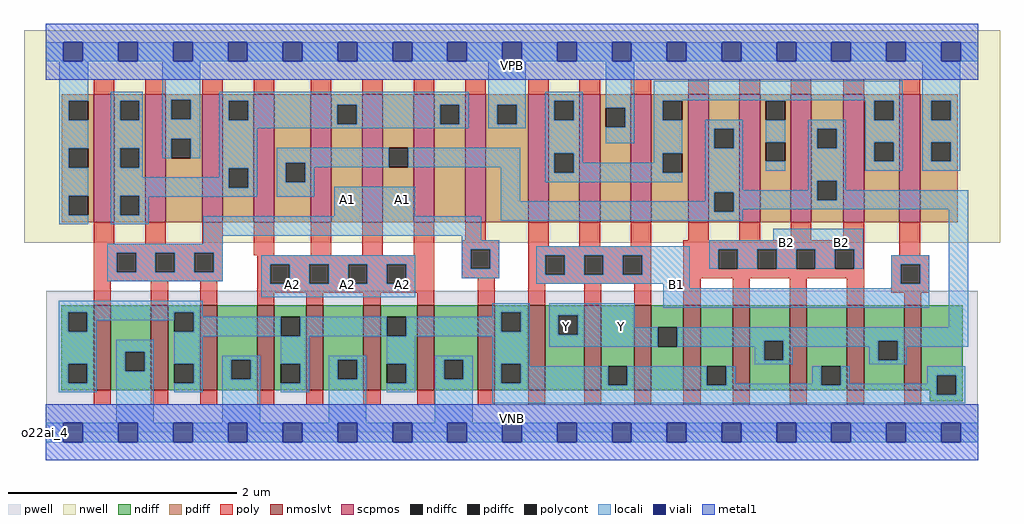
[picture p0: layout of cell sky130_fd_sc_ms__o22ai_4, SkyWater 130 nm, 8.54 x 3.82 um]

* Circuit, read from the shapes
.subckt sky130_fd_sc_ms__o22ai_4 A1 A2 B1 B2 VGND VNB VPB VPWR Y
XM1 VGND A1 n1 VNB sky130_fd_pr__nfet_01v8_lvt w=0.74 l=0.15 m=4
XM2 n1 A2 VGND VNB sky130_fd_pr__nfet_01v8_lvt w=0.74 l=0.15 m=4
XM3 Y B1 n1 VNB sky130_fd_pr__nfet_01v8_lvt w=0.74 l=0.15 m=4
XM4 n1 B2 Y VNB sky130_fd_pr__nfet_01v8_lvt w=0.74 l=0.15 m=4
XM5 n2 A1 VPWR VPB sky130_fd_pr__pfet_01v8 w=1.12 l=0.18 m=4
XM6 Y A2 n2 VPB sky130_fd_pr__pfet_01v8 w=1.12 l=0.18 m=4
XM7 n3 B1 VPWR VPB sky130_fd_pr__pfet_01v8 w=1.12 l=0.18 m=4
XM8 Y B2 n3 VPB sky130_fd_pr__pfet_01v8 w=1.12 l=0.18 m=4
.ends

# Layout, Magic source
magic
tech sky130A
magscale 1 2
<< nwell >>
rect -38 332 1670 704
<< pwell >>
rect 1 49 1631 248
rect 0 0 1632 49
<< scpmos >>
rect 84 368 120 592
rect 174 368 210 592
rect 274 368 310 592
rect 364 368 400 592
rect 464 368 500 592
rect 554 368 590 592
rect 644 368 680 592
rect 734 368 770 592
rect 844 368 880 592
rect 934 368 970 592
rect 1024 368 1060 592
rect 1124 368 1160 592
rect 1214 368 1250 592
rect 1304 368 1340 592
rect 1396 368 1432 592
rect 1494 368 1530 592
<< nmoslvt >>
rect 84 74 114 222
rect 184 74 214 222
rect 270 74 300 222
rect 370 74 400 222
rect 456 74 486 222
rect 556 74 586 222
rect 650 74 680 222
rect 756 74 786 222
rect 844 74 874 222
rect 942 74 972 222
rect 1030 74 1060 222
rect 1116 74 1146 222
rect 1202 74 1232 222
rect 1302 74 1332 222
rect 1402 74 1432 222
rect 1502 74 1532 222
<< ndiff >>
rect 27 210 84 222
rect 27 176 39 210
rect 73 176 84 210
rect 27 120 84 176
rect 27 86 39 120
rect 73 86 84 120
rect 27 74 84 86
rect 114 141 184 222
rect 114 107 139 141
rect 173 107 184 141
rect 114 74 184 107
rect 214 210 270 222
rect 214 176 225 210
rect 259 176 270 210
rect 214 120 270 176
rect 214 86 225 120
rect 259 86 270 120
rect 214 74 270 86
rect 300 127 370 222
rect 300 93 325 127
rect 359 93 370 127
rect 300 74 370 93
rect 400 202 456 222
rect 400 168 411 202
rect 445 168 456 202
rect 400 120 456 168
rect 400 86 411 120
rect 445 86 456 120
rect 400 74 456 86
rect 486 127 556 222
rect 486 93 511 127
rect 545 93 556 127
rect 486 74 556 93
rect 586 202 650 222
rect 586 168 597 202
rect 631 168 650 202
rect 586 120 650 168
rect 586 86 597 120
rect 631 86 650 120
rect 586 74 650 86
rect 680 127 756 222
rect 680 93 697 127
rect 731 93 756 127
rect 680 74 756 93
rect 786 210 844 222
rect 786 176 797 210
rect 831 176 844 210
rect 786 120 844 176
rect 786 86 797 120
rect 831 86 844 120
rect 786 74 844 86
rect 874 205 942 222
rect 874 171 897 205
rect 931 171 942 205
rect 874 74 942 171
rect 972 116 1030 222
rect 972 82 984 116
rect 1018 82 1030 116
rect 972 74 1030 82
rect 1060 184 1116 222
rect 1060 150 1071 184
rect 1105 150 1116 184
rect 1060 74 1116 150
rect 1146 116 1202 222
rect 1146 82 1157 116
rect 1191 82 1202 116
rect 1146 74 1202 82
rect 1232 160 1302 222
rect 1232 126 1257 160
rect 1291 126 1302 160
rect 1232 74 1302 126
rect 1332 116 1402 222
rect 1332 82 1357 116
rect 1391 82 1402 116
rect 1332 74 1402 82
rect 1432 160 1502 222
rect 1432 126 1457 160
rect 1491 126 1502 160
rect 1432 74 1502 126
rect 1532 100 1605 222
rect 1532 74 1559 100
rect 1547 66 1559 74
rect 1593 66 1605 100
rect 1547 54 1605 66
<< pdiff >>
rect 28 580 84 592
rect 28 546 40 580
rect 74 546 84 580
rect 28 497 84 546
rect 28 463 40 497
rect 74 463 84 497
rect 28 414 84 463
rect 28 380 40 414
rect 74 380 84 414
rect 28 368 84 380
rect 120 580 174 592
rect 120 546 130 580
rect 164 546 174 580
rect 120 497 174 546
rect 120 463 130 497
rect 164 463 174 497
rect 120 414 174 463
rect 120 380 130 414
rect 164 380 174 414
rect 120 368 174 380
rect 210 582 274 592
rect 210 548 220 582
rect 254 548 274 582
rect 210 514 274 548
rect 210 480 220 514
rect 254 480 274 514
rect 210 368 274 480
rect 310 580 364 592
rect 310 546 320 580
rect 354 546 364 580
rect 310 462 364 546
rect 310 428 320 462
rect 354 428 364 462
rect 310 368 364 428
rect 400 472 464 592
rect 400 438 420 472
rect 454 438 464 472
rect 400 368 464 438
rect 500 573 554 592
rect 500 539 510 573
rect 544 539 554 573
rect 500 368 554 539
rect 590 498 644 592
rect 590 464 600 498
rect 634 464 644 498
rect 590 368 644 464
rect 680 573 734 592
rect 680 539 690 573
rect 724 539 734 573
rect 680 368 734 539
rect 770 573 844 592
rect 770 539 790 573
rect 824 539 844 573
rect 770 368 844 539
rect 880 580 934 592
rect 880 546 890 580
rect 924 546 934 580
rect 880 488 934 546
rect 880 454 890 488
rect 924 454 934 488
rect 880 368 934 454
rect 970 568 1024 592
rect 970 534 980 568
rect 1014 534 1024 568
rect 970 368 1024 534
rect 1060 580 1124 592
rect 1060 546 1080 580
rect 1114 546 1124 580
rect 1060 488 1124 546
rect 1060 454 1080 488
rect 1114 454 1124 488
rect 1060 368 1124 454
rect 1160 531 1214 592
rect 1160 497 1170 531
rect 1204 497 1214 531
rect 1160 420 1214 497
rect 1160 386 1170 420
rect 1204 386 1214 420
rect 1160 368 1214 386
rect 1250 580 1304 592
rect 1250 546 1260 580
rect 1294 546 1304 580
rect 1250 508 1304 546
rect 1250 474 1260 508
rect 1294 474 1304 508
rect 1250 368 1304 474
rect 1340 531 1396 592
rect 1340 497 1350 531
rect 1384 497 1396 531
rect 1340 440 1396 497
rect 1340 406 1350 440
rect 1384 406 1396 440
rect 1340 368 1396 406
rect 1432 580 1494 592
rect 1432 546 1450 580
rect 1484 546 1494 580
rect 1432 508 1494 546
rect 1432 474 1450 508
rect 1484 474 1494 508
rect 1432 368 1494 474
rect 1530 580 1596 592
rect 1530 546 1550 580
rect 1584 546 1596 580
rect 1530 508 1596 546
rect 1530 474 1550 508
rect 1584 474 1596 508
rect 1530 368 1596 474
<< ndiffc >>
rect 39 176 73 210
rect 39 86 73 120
rect 139 107 173 141
rect 225 176 259 210
rect 225 86 259 120
rect 325 93 359 127
rect 411 168 445 202
rect 411 86 445 120
rect 511 93 545 127
rect 597 168 631 202
rect 597 86 631 120
rect 697 93 731 127
rect 797 176 831 210
rect 797 86 831 120
rect 897 171 931 205
rect 984 82 1018 116
rect 1071 150 1105 184
rect 1157 82 1191 116
rect 1257 126 1291 160
rect 1357 82 1391 116
rect 1457 126 1491 160
rect 1559 66 1593 100
<< pdiffc >>
rect 40 546 74 580
rect 40 463 74 497
rect 40 380 74 414
rect 130 546 164 580
rect 130 463 164 497
rect 130 380 164 414
rect 220 548 254 582
rect 220 480 254 514
rect 320 546 354 580
rect 320 428 354 462
rect 420 438 454 472
rect 510 539 544 573
rect 600 464 634 498
rect 690 539 724 573
rect 790 539 824 573
rect 890 546 924 580
rect 890 454 924 488
rect 980 534 1014 568
rect 1080 546 1114 580
rect 1080 454 1114 488
rect 1170 497 1204 531
rect 1170 386 1204 420
rect 1260 546 1294 580
rect 1260 474 1294 508
rect 1350 497 1384 531
rect 1350 406 1384 440
rect 1450 546 1484 580
rect 1450 474 1484 508
rect 1550 546 1584 580
rect 1550 474 1584 508
<< poly >>
rect 84 592 120 618
rect 174 592 210 618
rect 274 592 310 618
rect 364 592 400 618
rect 464 592 500 618
rect 554 592 590 618
rect 644 592 680 618
rect 734 592 770 618
rect 844 592 880 618
rect 934 592 970 618
rect 1024 592 1060 618
rect 1124 592 1160 618
rect 1214 592 1250 618
rect 1304 592 1340 618
rect 1396 592 1432 618
rect 1494 592 1530 618
rect 84 330 120 368
rect 174 330 210 368
rect 274 330 310 368
rect 84 314 310 330
rect 84 280 124 314
rect 158 280 192 314
rect 226 280 260 314
rect 294 280 310 314
rect 364 310 400 368
rect 464 310 500 368
rect 554 310 590 368
rect 644 310 680 368
rect 734 336 770 368
rect 84 264 310 280
rect 370 294 680 310
rect 84 222 114 264
rect 184 222 214 264
rect 270 222 300 264
rect 370 260 393 294
rect 427 260 461 294
rect 495 260 529 294
rect 563 260 597 294
rect 631 260 680 294
rect 728 320 794 336
rect 728 286 744 320
rect 778 286 794 320
rect 728 270 794 286
rect 844 326 880 368
rect 934 326 970 368
rect 1024 326 1060 368
rect 1124 336 1160 368
rect 1214 336 1250 368
rect 1304 336 1340 368
rect 1396 336 1432 368
rect 844 310 1060 326
rect 844 276 874 310
rect 908 276 942 310
rect 976 276 1010 310
rect 1044 276 1060 310
rect 370 244 680 260
rect 370 222 400 244
rect 456 222 486 244
rect 556 222 586 244
rect 650 222 680 244
rect 756 222 786 270
rect 844 260 1060 276
rect 844 222 874 260
rect 942 222 972 260
rect 1030 222 1060 260
rect 1116 320 1432 336
rect 1116 286 1177 320
rect 1211 286 1245 320
rect 1279 286 1313 320
rect 1347 286 1381 320
rect 1415 286 1432 320
rect 1494 310 1530 368
rect 1116 270 1432 286
rect 1116 222 1146 270
rect 1202 222 1232 270
rect 1302 222 1332 270
rect 1402 222 1432 270
rect 1480 294 1546 310
rect 1480 260 1496 294
rect 1530 260 1546 294
rect 1480 244 1546 260
rect 1502 222 1532 244
rect 84 48 114 74
rect 184 48 214 74
rect 270 48 300 74
rect 370 48 400 74
rect 456 48 486 74
rect 556 48 586 74
rect 650 48 680 74
rect 756 48 786 74
rect 844 48 874 74
rect 942 48 972 74
rect 1030 48 1060 74
rect 1116 48 1146 74
rect 1202 48 1232 74
rect 1302 48 1332 74
rect 1402 48 1432 74
rect 1502 48 1532 74
<< polycont >>
rect 124 280 158 314
rect 192 280 226 314
rect 260 280 294 314
rect 393 260 427 294
rect 461 260 495 294
rect 529 260 563 294
rect 597 260 631 294
rect 744 286 778 320
rect 874 276 908 310
rect 942 276 976 310
rect 1010 276 1044 310
rect 1177 286 1211 320
rect 1245 286 1279 320
rect 1313 286 1347 320
rect 1381 286 1415 320
rect 1496 260 1530 294
<< locali >>
rect 0 649 31 683
rect 65 649 127 683
rect 161 649 223 683
rect 257 649 319 683
rect 353 649 415 683
rect 449 649 511 683
rect 545 649 607 683
rect 641 649 703 683
rect 737 649 799 683
rect 833 649 895 683
rect 929 649 991 683
rect 1025 649 1087 683
rect 1121 649 1183 683
rect 1217 649 1279 683
rect 1313 649 1375 683
rect 1409 649 1471 683
rect 1505 649 1567 683
rect 1601 649 1632 683
rect 24 580 74 649
rect 24 546 40 580
rect 24 497 74 546
rect 24 463 40 497
rect 24 414 74 463
rect 24 380 40 414
rect 24 364 74 380
rect 114 580 170 596
rect 114 546 130 580
rect 164 546 170 580
rect 114 497 170 546
rect 114 463 130 497
rect 164 463 170 497
rect 204 582 270 649
rect 204 548 220 582
rect 254 548 270 582
rect 204 514 270 548
rect 204 480 220 514
rect 254 480 270 514
rect 304 580 740 596
rect 304 546 320 580
rect 354 573 740 580
rect 354 546 510 573
rect 304 539 510 546
rect 544 539 690 573
rect 724 539 740 573
rect 304 532 740 539
rect 774 573 840 649
rect 774 539 790 573
rect 824 539 840 573
rect 774 532 840 539
rect 874 580 940 596
rect 874 546 890 580
rect 924 546 940 580
rect 114 446 170 463
rect 304 462 370 532
rect 304 446 320 462
rect 114 428 320 446
rect 354 428 370 462
rect 114 414 370 428
rect 114 380 130 414
rect 164 412 370 414
rect 404 472 600 498
rect 404 438 420 472
rect 454 464 600 472
rect 634 464 830 498
rect 454 438 470 464
rect 404 412 470 438
rect 164 380 180 412
rect 114 364 180 380
rect 505 378 647 430
rect 796 404 830 464
rect 874 488 940 546
rect 980 568 1030 649
rect 1014 534 1030 568
rect 980 506 1030 534
rect 1064 581 1500 615
rect 1064 580 1114 581
rect 1064 546 1080 580
rect 1260 580 1294 581
rect 874 454 890 488
rect 924 472 940 488
rect 1064 488 1114 546
rect 1064 472 1080 488
rect 924 454 1080 472
rect 874 438 1114 454
rect 1154 531 1220 547
rect 1154 497 1170 531
rect 1204 497 1220 531
rect 1154 424 1220 497
rect 1434 580 1500 581
rect 1260 508 1294 546
rect 1260 458 1294 474
rect 1334 531 1400 547
rect 1334 497 1350 531
rect 1384 497 1400 531
rect 1334 440 1400 497
rect 1434 546 1450 580
rect 1484 546 1500 580
rect 1434 508 1500 546
rect 1434 474 1450 508
rect 1484 474 1500 508
rect 1434 458 1500 474
rect 1534 580 1600 649
rect 1534 546 1550 580
rect 1584 546 1600 580
rect 1534 508 1600 546
rect 1534 474 1550 508
rect 1584 474 1600 508
rect 1534 458 1600 474
rect 1334 424 1350 440
rect 1154 420 1350 424
rect 1154 404 1170 420
rect 796 386 1170 404
rect 1204 406 1350 420
rect 1384 424 1400 440
rect 1384 406 1614 424
rect 1204 390 1614 406
rect 1204 386 1220 390
rect 276 344 762 378
rect 796 370 1220 386
rect 276 330 310 344
rect 108 314 310 330
rect 108 280 124 314
rect 158 280 192 314
rect 226 280 260 314
rect 294 280 310 314
rect 728 336 762 344
rect 1273 336 1431 356
rect 728 320 794 336
rect 108 264 310 280
rect 377 294 647 310
rect 377 260 393 294
rect 427 260 461 294
rect 495 260 529 294
rect 563 260 597 294
rect 631 260 647 294
rect 728 286 744 320
rect 778 286 794 320
rect 728 270 794 286
rect 858 310 1127 326
rect 858 276 874 310
rect 908 276 942 310
rect 976 276 1010 310
rect 1044 276 1127 310
rect 1161 320 1431 336
rect 1161 286 1177 320
rect 1211 286 1245 320
rect 1279 286 1313 320
rect 1347 286 1381 320
rect 1415 286 1431 320
rect 1480 294 1546 310
rect 858 260 1127 276
rect 377 236 647 260
rect 1081 252 1127 260
rect 1480 260 1496 294
rect 1530 260 1546 294
rect 1480 252 1546 260
rect 23 210 275 230
rect 23 176 39 210
rect 73 196 225 210
rect 73 176 89 196
rect 23 120 89 176
rect 259 202 275 210
rect 781 210 847 226
rect 781 202 797 210
rect 259 176 411 202
rect 225 168 411 176
rect 445 168 597 202
rect 631 176 797 202
rect 831 176 847 210
rect 631 168 847 176
rect 23 86 39 120
rect 73 86 89 120
rect 23 70 89 86
rect 123 141 189 162
rect 123 107 139 141
rect 173 107 189 141
rect 123 17 189 107
rect 225 120 275 168
rect 259 86 275 120
rect 225 70 275 86
rect 309 127 375 134
rect 309 93 325 127
rect 359 93 375 127
rect 309 17 375 93
rect 411 120 461 168
rect 445 86 461 120
rect 411 70 461 86
rect 495 127 561 134
rect 495 93 511 127
rect 545 93 561 127
rect 495 17 561 93
rect 597 120 647 168
rect 631 86 647 120
rect 597 70 647 86
rect 681 127 747 134
rect 681 93 697 127
rect 731 93 747 127
rect 681 17 747 93
rect 781 120 847 168
rect 881 205 1031 226
rect 1081 218 1546 252
rect 881 171 897 205
rect 931 184 1031 205
rect 1580 184 1614 390
rect 931 171 1071 184
rect 881 150 1071 171
rect 1105 160 1614 184
rect 1105 150 1257 160
rect 781 86 797 120
rect 831 116 847 120
rect 1241 126 1257 150
rect 1291 150 1457 160
rect 1291 126 1307 150
rect 1241 119 1307 126
rect 1441 126 1457 150
rect 1491 150 1614 160
rect 1491 126 1507 150
rect 1441 119 1507 126
rect 831 86 984 116
rect 781 82 984 86
rect 1018 82 1157 116
rect 1191 85 1207 116
rect 1341 85 1357 116
rect 1191 82 1357 85
rect 1391 85 1407 116
rect 1543 100 1609 116
rect 1543 85 1559 100
rect 1391 82 1559 85
rect 781 66 1559 82
rect 1593 66 1609 100
rect 781 51 1609 66
rect 0 -17 31 17
rect 65 -17 127 17
rect 161 -17 223 17
rect 257 -17 319 17
rect 353 -17 415 17
rect 449 -17 511 17
rect 545 -17 607 17
rect 641 -17 703 17
rect 737 -17 799 17
rect 833 -17 895 17
rect 929 -17 991 17
rect 1025 -17 1087 17
rect 1121 -17 1183 17
rect 1217 -17 1279 17
rect 1313 -17 1375 17
rect 1409 -17 1471 17
rect 1505 -17 1567 17
rect 1601 -17 1632 17
<< viali >>
rect 31 649 65 683
rect 127 649 161 683
rect 223 649 257 683
rect 319 649 353 683
rect 415 649 449 683
rect 511 649 545 683
rect 607 649 641 683
rect 703 649 737 683
rect 799 649 833 683
rect 895 649 929 683
rect 991 649 1025 683
rect 1087 649 1121 683
rect 1183 649 1217 683
rect 1279 649 1313 683
rect 1375 649 1409 683
rect 1471 649 1505 683
rect 1567 649 1601 683
rect 31 -17 65 17
rect 127 -17 161 17
rect 223 -17 257 17
rect 319 -17 353 17
rect 415 -17 449 17
rect 511 -17 545 17
rect 607 -17 641 17
rect 703 -17 737 17
rect 799 -17 833 17
rect 895 -17 929 17
rect 991 -17 1025 17
rect 1087 -17 1121 17
rect 1183 -17 1217 17
rect 1279 -17 1313 17
rect 1375 -17 1409 17
rect 1471 -17 1505 17
rect 1567 -17 1601 17
<< metal1 >>
rect 0 683 1632 715
rect 0 649 31 683
rect 65 649 127 683
rect 161 649 223 683
rect 257 649 319 683
rect 353 649 415 683
rect 449 649 511 683
rect 545 649 607 683
rect 641 649 703 683
rect 737 649 799 683
rect 833 649 895 683
rect 929 649 991 683
rect 1025 649 1087 683
rect 1121 649 1183 683
rect 1217 649 1279 683
rect 1313 649 1375 683
rect 1409 649 1471 683
rect 1505 649 1567 683
rect 1601 649 1632 683
rect 0 617 1632 649
rect 0 17 1632 49
rect 0 -17 31 17
rect 65 -17 127 17
rect 161 -17 223 17
rect 257 -17 319 17
rect 353 -17 415 17
rect 449 -17 511 17
rect 545 -17 607 17
rect 641 -17 703 17
rect 737 -17 799 17
rect 833 -17 895 17
rect 929 -17 991 17
rect 1025 -17 1087 17
rect 1121 -17 1183 17
rect 1217 -17 1279 17
rect 1313 -17 1375 17
rect 1409 -17 1471 17
rect 1505 -17 1567 17
rect 1601 -17 1632 17
rect 0 -49 1632 -17
<< labels >>
flabel pwell s 0 0 1632 49 0 FreeSans 200 0 0 0 VNB
port 6 nsew ground bidirectional
flabel nwell s 0 617 1632 666 0 FreeSans 200 0 0 0 VPB
port 7 nsew power bidirectional
rlabel comment s 0 0 0 0 4 o22ai_4
flabel metal1 s 0 617 1632 666 0 FreeSans 340 0 0 0 VPWR
port 8 nsew power bidirectional
flabel metal1 s 0 0 1632 49 0 FreeSans 340 0 0 0 VGND
port 5 nsew ground bidirectional
flabel locali s 1087 242 1121 276 0 FreeSans 340 0 0 0 B1
port 3 nsew signal input
flabel locali s 1279 316 1313 350 0 FreeSans 340 0 0 0 B2
port 4 nsew signal input
flabel locali s 1375 316 1409 350 0 FreeSans 340 0 0 0 B2
port 4 nsew signal input
flabel locali s 895 168 929 202 0 FreeSans 340 0 0 0 Y
port 9 nsew signal output
flabel locali s 991 168 1025 202 0 FreeSans 340 0 0 0 Y
port 9 nsew signal output
flabel locali s 415 242 449 276 0 FreeSans 340 0 0 0 A2
port 2 nsew signal input
flabel locali s 511 242 545 276 0 FreeSans 340 0 0 0 A2
port 2 nsew signal input
flabel locali s 607 242 641 276 0 FreeSans 340 0 0 0 A2
port 2 nsew signal input
flabel locali s 511 390 545 424 0 FreeSans 340 0 0 0 A1
port 1 nsew signal input
flabel locali s 607 390 641 424 0 FreeSans 340 0 0 0 A1
port 1 nsew signal input
<< properties >>
string LEFsite unit
string LEFclass CORE
string FIXED_BBOX 0 0 1632 666
string GDS_FILE $PDKPATH/libs.ref/sky130_fd_sc_ms/gds/sky130_fd_sc_ms.gds
string LEFsymmetry X Y
string GDS_END 1189120
string GDS_START 1176934
<< end >>
